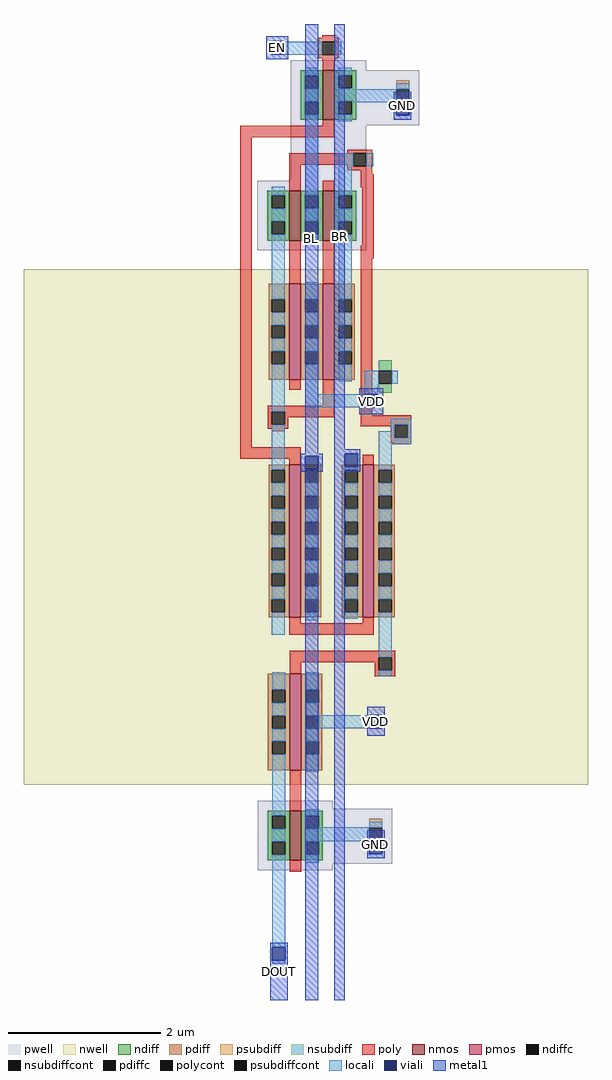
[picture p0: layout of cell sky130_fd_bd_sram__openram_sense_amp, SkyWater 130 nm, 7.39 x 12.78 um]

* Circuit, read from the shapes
.subckt sky130_fd_bd_sram__openram_sense_amp DOUT BL BR EN GND VDD bl br dout en vdd gnd
XM1 n1 n2 n3 GND sky130_fd_pr__nfet_01v8 w=0.65 l=0.15
XM2 GND n2 DOUT GND sky130_fd_pr__nfet_01v8 w=0.65 l=0.15
XM3 n2 n3 n1 GND sky130_fd_pr__nfet_01v8 w=0.65 l=0.15
XM4 GND EN n1 GND sky130_fd_pr__nfet_01v8 w=0.65 l=0.15
XM5 BL EN n3 VDD sky130_fd_pr__pfet_01v8 w=2 l=0.15
XM6 VDD n2 n3 VDD sky130_fd_pr__pfet_01v8 w=1.26 l=0.15
XM7 VDD n2 DOUT VDD sky130_fd_pr__pfet_01v8 w=1.26 l=0.15
XM8 n2 n3 VDD VDD sky130_fd_pr__pfet_01v8 w=1.26 l=0.15
XM9 n2 EN BR VDD sky130_fd_pr__pfet_01v8 w=2 l=0.15
.ends

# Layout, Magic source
magic
tech sky130B
magscale 1 2
<< nwell >>
rect -541 564 937 1914
<< pwell >>
rect 158 2435 356 2461
rect 158 2291 494 2435
rect 158 2145 356 2291
rect 70 1963 356 2145
rect 72 501 268 522
rect 72 357 424 501
rect 72 340 268 357
<< nmos >>
rect 242 2305 272 2435
rect 154 1989 184 2119
rect 242 1989 272 2119
rect 156 366 186 496
<< pmos >>
rect 154 1624 184 1876
rect 242 1624 272 1876
rect 154 1002 184 1402
rect 346 1002 376 1402
rect 156 602 186 854
<< ndiff >>
rect 184 2420 242 2435
rect 184 2386 196 2420
rect 230 2386 242 2420
rect 184 2352 242 2386
rect 184 2318 196 2352
rect 230 2318 242 2352
rect 184 2305 242 2318
rect 272 2422 330 2435
rect 272 2388 284 2422
rect 318 2388 330 2422
rect 272 2354 330 2388
rect 272 2320 284 2354
rect 318 2320 330 2354
rect 272 2305 330 2320
rect 96 2107 154 2119
rect 96 2073 108 2107
rect 142 2073 154 2107
rect 96 2039 154 2073
rect 96 2005 108 2039
rect 142 2005 154 2039
rect 96 1989 154 2005
rect 184 2107 242 2119
rect 184 2073 196 2107
rect 230 2073 242 2107
rect 184 2039 242 2073
rect 184 2005 196 2039
rect 230 2005 242 2039
rect 184 1989 242 2005
rect 272 2107 330 2119
rect 272 2073 284 2107
rect 318 2073 330 2107
rect 272 2039 330 2073
rect 272 2005 284 2039
rect 318 2005 330 2039
rect 272 1989 330 2005
rect 98 482 156 496
rect 98 448 110 482
rect 144 448 156 482
rect 98 414 156 448
rect 98 380 110 414
rect 144 380 156 414
rect 98 366 156 380
rect 186 482 242 496
rect 186 448 198 482
rect 232 448 242 482
rect 186 414 242 448
rect 186 380 198 414
rect 232 380 242 414
rect 186 366 242 380
<< pdiff >>
rect 100 1835 154 1876
rect 100 1801 108 1835
rect 142 1801 154 1835
rect 100 1767 154 1801
rect 100 1733 108 1767
rect 142 1733 154 1767
rect 100 1699 154 1733
rect 100 1665 108 1699
rect 142 1665 154 1699
rect 100 1624 154 1665
rect 184 1835 242 1876
rect 184 1801 196 1835
rect 230 1801 242 1835
rect 184 1767 242 1801
rect 184 1733 196 1767
rect 230 1733 242 1767
rect 184 1699 242 1733
rect 184 1665 196 1699
rect 230 1665 242 1699
rect 184 1624 242 1665
rect 272 1835 326 1876
rect 272 1801 284 1835
rect 318 1801 326 1835
rect 272 1767 326 1801
rect 272 1733 284 1767
rect 318 1733 326 1767
rect 272 1699 326 1733
rect 272 1665 284 1699
rect 318 1665 326 1699
rect 272 1624 326 1665
rect 100 1389 154 1402
rect 100 1355 108 1389
rect 142 1355 154 1389
rect 100 1321 154 1355
rect 100 1287 108 1321
rect 142 1287 154 1321
rect 100 1253 154 1287
rect 100 1219 108 1253
rect 142 1219 154 1253
rect 100 1185 154 1219
rect 100 1151 108 1185
rect 142 1151 154 1185
rect 100 1117 154 1151
rect 100 1083 108 1117
rect 142 1083 154 1117
rect 100 1049 154 1083
rect 100 1015 108 1049
rect 142 1015 154 1049
rect 100 1002 154 1015
rect 184 1389 238 1402
rect 184 1355 196 1389
rect 230 1355 238 1389
rect 184 1321 238 1355
rect 184 1287 196 1321
rect 230 1287 238 1321
rect 184 1253 238 1287
rect 184 1219 196 1253
rect 230 1219 238 1253
rect 184 1185 238 1219
rect 184 1151 196 1185
rect 230 1151 238 1185
rect 184 1117 238 1151
rect 184 1083 196 1117
rect 230 1083 238 1117
rect 184 1049 238 1083
rect 184 1015 196 1049
rect 230 1015 238 1049
rect 184 1002 238 1015
rect 292 1389 346 1402
rect 292 1355 300 1389
rect 334 1355 346 1389
rect 292 1321 346 1355
rect 292 1287 300 1321
rect 334 1287 346 1321
rect 292 1253 346 1287
rect 292 1219 300 1253
rect 334 1219 346 1253
rect 292 1185 346 1219
rect 292 1151 300 1185
rect 334 1151 346 1185
rect 292 1117 346 1151
rect 292 1083 300 1117
rect 334 1083 346 1117
rect 292 1049 346 1083
rect 292 1015 300 1049
rect 334 1015 346 1049
rect 292 1002 346 1015
rect 376 1389 430 1402
rect 376 1355 388 1389
rect 422 1355 430 1389
rect 376 1321 430 1355
rect 376 1287 388 1321
rect 422 1287 430 1321
rect 376 1253 430 1287
rect 376 1219 388 1253
rect 422 1219 430 1253
rect 376 1185 430 1219
rect 376 1151 388 1185
rect 422 1151 430 1185
rect 376 1117 430 1151
rect 376 1083 388 1117
rect 422 1083 430 1117
rect 376 1049 430 1083
rect 376 1015 388 1049
rect 422 1015 430 1049
rect 376 1002 430 1015
rect 98 813 156 854
rect 98 779 110 813
rect 144 779 156 813
rect 98 745 156 779
rect 98 711 110 745
rect 144 711 156 745
rect 98 677 156 711
rect 98 643 110 677
rect 144 643 156 677
rect 98 602 156 643
rect 186 813 240 854
rect 186 779 198 813
rect 232 779 240 813
rect 186 745 240 779
rect 186 711 198 745
rect 232 711 240 745
rect 186 677 240 711
rect 186 643 198 677
rect 232 643 240 677
rect 186 602 240 643
<< ndiffc >>
rect 196 2386 230 2420
rect 196 2318 230 2352
rect 284 2388 318 2422
rect 284 2320 318 2354
rect 108 2073 142 2107
rect 108 2005 142 2039
rect 196 2073 230 2107
rect 196 2005 230 2039
rect 284 2073 318 2107
rect 284 2005 318 2039
rect 110 448 144 482
rect 110 380 144 414
rect 198 448 232 482
rect 198 380 232 414
<< pdiffc >>
rect 108 1801 142 1835
rect 108 1733 142 1767
rect 108 1665 142 1699
rect 196 1801 230 1835
rect 196 1733 230 1767
rect 196 1665 230 1699
rect 284 1801 318 1835
rect 284 1733 318 1767
rect 284 1665 318 1699
rect 108 1355 142 1389
rect 108 1287 142 1321
rect 108 1219 142 1253
rect 108 1151 142 1185
rect 108 1083 142 1117
rect 108 1015 142 1049
rect 196 1355 230 1389
rect 196 1287 230 1321
rect 196 1219 230 1253
rect 196 1151 230 1185
rect 196 1083 230 1117
rect 196 1015 230 1049
rect 300 1355 334 1389
rect 300 1287 334 1321
rect 300 1219 334 1253
rect 300 1151 334 1185
rect 300 1083 334 1117
rect 300 1015 334 1049
rect 388 1355 422 1389
rect 388 1287 422 1321
rect 388 1219 422 1253
rect 388 1151 422 1185
rect 388 1083 422 1117
rect 388 1015 422 1049
rect 110 779 144 813
rect 110 711 144 745
rect 110 643 144 677
rect 198 779 232 813
rect 198 711 232 745
rect 198 643 232 677
<< psubdiff >>
rect 434 2385 468 2409
rect 434 2317 468 2351
rect 364 451 398 475
rect 364 383 398 417
<< nsubdiff >>
rect 388 1648 422 1676
rect 388 1590 422 1614
<< psubdiffcont >>
rect 434 2351 468 2385
rect 364 417 398 451
<< nsubdiffcont >>
rect 388 1614 422 1648
<< poly >>
rect 240 2520 274 2526
rect 230 2510 284 2520
rect 230 2476 240 2510
rect 274 2476 284 2510
rect 230 2466 284 2476
rect 240 2460 274 2466
rect 242 2435 272 2460
rect 242 2289 272 2305
rect 26 2259 272 2289
rect 26 1448 56 2259
rect 306 2217 372 2227
rect 154 2187 322 2217
rect 154 2119 184 2187
rect 306 2183 322 2187
rect 356 2183 372 2217
rect 306 2173 372 2183
rect 342 2162 372 2173
rect 242 2119 272 2145
rect 342 2128 376 2162
rect 154 1876 184 1989
rect 242 1876 272 1989
rect 345 1976 375 2128
rect 342 1942 376 1976
rect 154 1598 184 1624
rect 242 1556 272 1624
rect 98 1540 272 1556
rect 98 1506 108 1540
rect 142 1526 272 1540
rect 342 1532 372 1942
rect 142 1506 152 1526
rect 98 1496 152 1506
rect 342 1506 474 1532
rect 342 1502 430 1506
rect 108 1490 142 1496
rect 420 1472 430 1502
rect 464 1472 474 1506
rect 420 1458 474 1472
rect 430 1456 474 1458
rect 26 1418 184 1448
rect 154 1402 184 1418
rect 346 1402 376 1428
rect 154 986 184 1002
rect 346 986 376 1002
rect 154 956 376 986
rect 156 898 432 914
rect 156 884 388 898
rect 156 854 186 884
rect 378 864 388 884
rect 422 864 432 898
rect 378 848 432 864
rect 156 496 186 602
rect 156 336 186 366
<< polycont >>
rect 240 2476 274 2510
rect 322 2183 356 2217
rect 108 1506 142 1540
rect 430 1472 464 1506
rect 388 864 422 898
<< locali >>
rect 106 2511 140 2512
rect 140 2477 240 2510
rect 106 2476 240 2477
rect 274 2476 290 2510
rect 196 2420 230 2442
rect 196 2352 230 2386
rect 108 2107 142 2130
rect 108 2039 142 2073
rect 108 1835 142 2005
rect 196 2107 230 2318
rect 284 2422 318 2442
rect 284 2385 318 2388
rect 434 2385 468 2401
rect 284 2354 434 2385
rect 318 2351 434 2354
rect 284 2301 318 2320
rect 196 2039 230 2073
rect 196 1985 230 2005
rect 284 2183 322 2217
rect 356 2183 374 2217
rect 284 2107 318 2183
rect 284 2039 318 2073
rect 108 1767 142 1801
rect 108 1699 142 1733
rect 108 1540 142 1665
rect 196 1835 230 1880
rect 196 1767 230 1801
rect 196 1699 230 1733
rect 196 1586 230 1665
rect 284 1835 318 2005
rect 284 1767 318 1801
rect 284 1699 318 1733
rect 284 1620 318 1665
rect 352 1614 388 1648
rect 422 1614 438 1648
rect 352 1586 386 1614
rect 196 1552 352 1586
rect 108 1389 142 1506
rect 420 1506 474 1522
rect 420 1490 430 1506
rect 388 1472 430 1490
rect 464 1472 474 1506
rect 388 1456 474 1472
rect 108 1321 142 1355
rect 108 1253 142 1287
rect 108 1185 142 1219
rect 108 1117 142 1151
rect 108 1049 142 1083
rect 108 956 142 1015
rect 196 1389 230 1390
rect 196 1321 230 1355
rect 196 1253 230 1287
rect 196 1185 230 1219
rect 196 1117 230 1151
rect 196 1049 230 1083
rect 196 994 230 1015
rect 300 1389 334 1396
rect 300 1321 334 1355
rect 300 1253 334 1287
rect 300 1185 334 1219
rect 300 1117 334 1151
rect 300 1049 334 1083
rect 300 998 334 1015
rect 388 1389 422 1456
rect 388 1321 422 1355
rect 388 1253 422 1287
rect 388 1185 422 1219
rect 388 1117 422 1151
rect 388 1049 422 1083
rect 388 898 422 1015
rect 110 813 144 858
rect 110 745 144 779
rect 110 677 144 711
rect 110 482 144 643
rect 198 813 232 858
rect 388 848 422 864
rect 198 746 232 779
rect 198 745 364 746
rect 232 712 364 745
rect 198 677 232 711
rect 198 598 232 643
rect 110 414 144 448
rect 110 138 144 380
rect 196 482 232 500
rect 196 448 198 482
rect 364 452 398 467
rect 232 451 398 452
rect 232 448 364 451
rect 196 416 364 448
rect 196 414 232 416
rect 196 380 198 414
rect 196 360 232 380
rect 110 95 144 104
<< viali >>
rect 106 2477 140 2511
rect 434 2317 468 2351
rect 352 1552 386 1586
rect 196 1390 230 1424
rect 300 1396 334 1430
rect 364 712 398 746
rect 364 383 398 417
rect 110 104 144 138
<< metal1 >>
rect 94 2511 152 2524
rect 94 2477 106 2511
rect 140 2477 152 2511
rect 94 2464 152 2477
rect 196 1430 230 2556
rect 272 1442 300 2556
rect 428 2351 474 2379
rect 428 2317 434 2351
rect 468 2317 474 2351
rect 428 2305 474 2317
rect 338 1586 400 1602
rect 338 1552 352 1586
rect 386 1552 400 1586
rect 338 1534 400 1552
rect 272 1430 340 1442
rect 184 1424 242 1430
rect 184 1390 196 1424
rect 230 1390 242 1424
rect 184 1384 242 1390
rect 272 1396 300 1430
rect 334 1396 340 1430
rect 272 1384 340 1396
rect 104 138 150 150
rect 104 104 110 138
rect 144 104 150 138
rect 104 0 150 104
rect 196 0 230 1384
rect 272 0 300 1384
rect 358 746 404 768
rect 358 712 364 746
rect 398 712 404 746
rect 358 692 404 712
rect 358 417 404 445
rect 358 383 364 417
rect 398 383 404 417
rect 358 371 404 383
<< labels >>
rlabel metal1 s 104 0 150 150 4 DOUT
port 1 nsew
rlabel metal1 s 196 1430 230 2556 4 BL
port 2 nsew
rlabel metal1 s 272 1442 300 2556 4 BR
port 3 nsew
rlabel metal1 s 94 2464 152 2524 4 EN
port 4 nsew
rlabel metal1 s 428 2305 474 2379 4 GND
port 5 nsew
rlabel metal1 s 358 371 404 445 4 GND
port 5 nsew
rlabel metal1 s 338 1534 400 1602 4 VDD
port 6 nsew
rlabel metal1 s 358 692 404 768 4 VDD
port 6 nsew
rlabel metal1 s 213 1993 213 1993 4 bl
port 7 nsew
rlabel metal1 s 286 1999 286 1999 4 br
port 8 nsew
rlabel metal1 s 127 75 127 75 4 dout
port 9 nsew
rlabel metal1 s 123 2494 123 2494 4 en
port 10 nsew
rlabel metal1 s 369 1568 369 1568 4 vdd
port 11 nsew
rlabel metal1 s 381 730 381 730 4 vdd
port 11 nsew
rlabel metal1 s 451 2342 451 2342 4 gnd
port 12 nsew
rlabel metal1 s 381 408 381 408 4 gnd
port 12 nsew
<< properties >>
string FIXED_BBOX 0 0 500 2556
<< end >>
